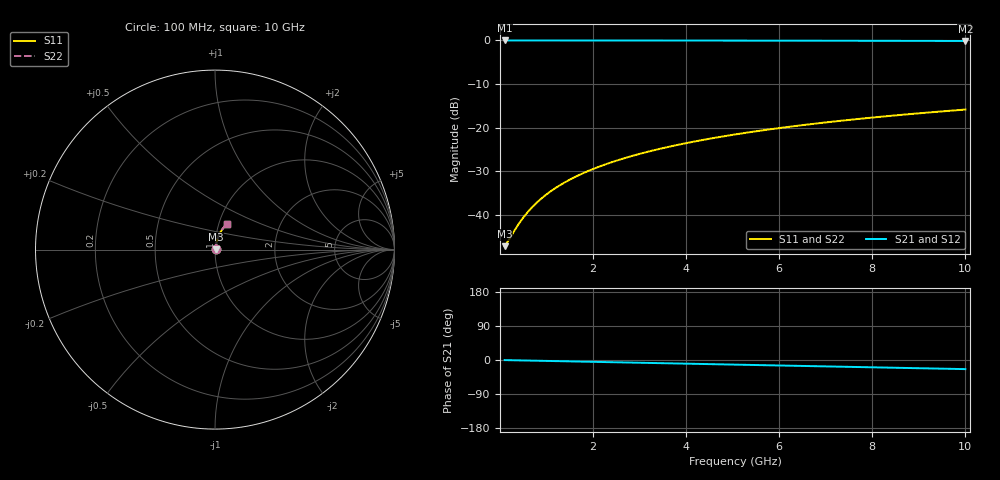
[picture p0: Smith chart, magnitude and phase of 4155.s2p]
# Hz S RI R 50.00
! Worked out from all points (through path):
!   100 points, 100 MHz to 10 GHz, reference 50 ohm
!   highest |S21| = -0.04 dB at 100 MHz (marker M1); lowest = -0.2 dB at 10 GHz (marker M2)
!   group delay of S21, straight-line fit = 6.69 ps
!   lowest |S11| = -47.2 dB at 100 MHz (marker M3), VSWR 1.01, Z = 50.4 + j0.166 ohm
!   |S11| at or under -10 dB: start of sweep to end of sweep
!   |S22| runs from -47.2 to -15.9 dB; largest |S21 - S12| = 0
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1e8  0.00404 0.00164  0.996 -0.0042  0.996 -0.0042  0.00404 0.00164
2e8  0.00409 0.00329  0.9959 -0.0084  0.9959 -0.0084  0.00409 0.00329
4e8  0.0042 0.00658  0.9957 -0.0168  0.9957 -0.0168  0.0042 0.00658
5e8  0.00428 0.00822  0.9956 -0.021  0.9956 -0.021  0.00428 0.00822
6e8  0.00437 0.00986  0.9955 -0.0252  0.9955 -0.0252  0.00437 0.00986
7e8  0.00447 0.0115  0.9954 -0.0294  0.9954 -0.0294  0.00447 0.0115
8e8  0.00458 0.0131  0.9952 -0.0336  0.9952 -0.0336  0.00458 0.0131
1e9  0.00485 0.0164  0.9948 -0.042  0.9948 -0.042  0.00485 0.0164
1.2e9  0.00516 0.0197  0.9943 -0.0503  0.9943 -0.0503  0.00516 0.0197
1.5e9  0.00574 0.0246  0.9935 -0.0629  0.9935 -0.0629  0.00574 0.0246
1.8e9  0.00644 0.0295  0.9925 -0.0755  0.9925 -0.0755  0.00644 0.0295
2.1e9  0.00727 0.0343  0.9912 -0.088  0.9912 -0.088  0.00727 0.0343
2.5e9  0.00855 0.0408  0.9893 -0.1047  0.9893 -0.1047  0.00855 0.0408
2.9e9  0.0101 0.0472  0.9871 -0.1213  0.9871 -0.1213  0.0101 0.0472
3.4e9  0.0122 0.0551  0.9839 -0.142  0.9839 -0.142  0.0122 0.0551
4.2e9  0.0164 0.0675  0.9777 -0.1749  0.9777 -0.1749  0.0164 0.0675
5.1e9  0.0221 0.0811  0.9693 -0.2116  0.9693 -0.2116  0.0221 0.0811
5.9e9  0.0279 0.0928  0.9604 -0.2437  0.9604 -0.2437  0.0279 0.0928
6.7e9  0.0346 0.1041  0.9504 -0.2755  0.9504 -0.2755  0.0346 0.1041
7.5e9  0.042 0.1148  0.9392 -0.3068  0.9392 -0.3068  0.042 0.1148
8.4e9  0.0511 0.1263  0.9252 -0.3413  0.9252 -0.3413  0.0511 0.1263
1e10  0.0694 0.1449  0.897 -0.4008  0.897 -0.4008  0.0694 0.1449
